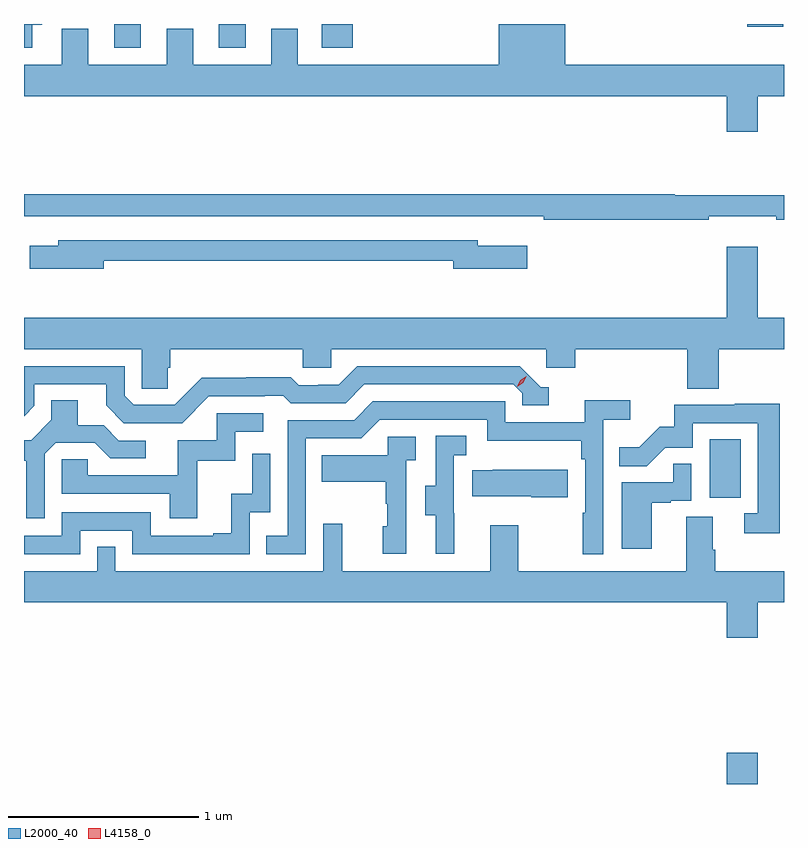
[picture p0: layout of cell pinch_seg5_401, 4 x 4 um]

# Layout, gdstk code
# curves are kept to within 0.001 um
import gdstk
lib = gdstk.Library(unit=1e-6, precision=1e-09)
def R(c, l, rs):  # rectangles x0, y0, x1, y1
    for r in rs: c.add(gdstk.rectangle(r[:2], r[2:], *l))
def P(c, l, *ps):  # polygons
    for p in ps: c.add(gdstk.Polygon(p, *l))
L2000_40 = (2000, 40)
L4158_0 = (4158, 0)

pinch_seg5_401 = lib.new_cell('pinch_seg5_401')
R(pinch_seg5_401, L2000_40, [(956.216,863.795,956.38,863.959), (956.126,865.302,956.29,865.609), (952.991,867.669,953.131,867.795), (953.543,867.669,953.683,867.795), (954.083,867.669,954.248,867.795), (956.323,867.78,956.512,867.795)])
P(pinch_seg5_401, L2000_40, [(956.38,867.416),(956.517,867.416),(956.517,867.58),(955.366,867.58),(955.366,867.795),(955.016,867.795),(955.016,867.58),(953.959,867.58),(953.959,867.77),(953.819,867.77),(953.819,867.58),(953.407,867.58),(953.407,867.77),(953.267,867.77),(953.267,867.58),(952.855,867.58),(952.855,867.77),(952.716,867.77),(952.716,867.58),(952.517,867.58),(952.517,867.416),(956.216,867.416),(956.216,867.228),(956.38,867.228)],
  [(952.561,867.791),(952.61,867.791),(952.614,867.795),(952.517,867.795),(952.517,867.669),(952.561,867.669)],
  [(956.12,866.783),(956.476,866.783),(956.476,866.764),(956.517,866.764),(956.517,866.893),(955.942,866.893),(955.942,866.9),(952.517,866.9),(952.517,866.784),(955,866.784),(955,866.783),(955.252,866.783),(955.252,866.764),(956.12,866.764)],
  [(952.936,866.55),(954.776,866.55),(954.776,866.507),(955.165,866.507),(955.165,866.629),(954.904,866.629),(954.904,866.658),(952.697,866.658),(952.697,866.629),(952.548,866.629),(952.548,866.507),(952.936,866.507)],
  [(953.273,865.986),(953.288,865.986),(953.288,866.084),(953.985,866.084),(953.985,865.986),(954.135,865.986),(954.135,866.084),(955.266,866.084),(955.266,865.986),(955.418,865.986),(955.418,866.084),(956.009,866.084),(956.009,865.876),(956.174,865.876),(956.174,866.084),(956.517,866.084),(956.517,866.248),(956.38,866.248),(956.38,866.623),(956.216,866.623),(956.216,866.248),(952.517,866.248),(952.517,866.084),(953.136,866.084),(953.136,865.876),(953.273,865.876)],
  [(953.49,865.836),(953.783,865.836),(953.783,865.839),(953.882,865.839),(953.921,865.8),(954.21,865.8),(954.309,865.899),(955.092,865.899),(955.14,865.851),(955.14,865.788),(955.279,865.788),(955.279,865.884),(955.236,865.884),(955.125,865.995),(954.272,865.995),(954.173,865.896),(954.066,865.896),(954.066,865.893),(953.963,865.893),(953.921,865.936),(953.688,865.936),(953.688,865.933),(953.452,865.933),(953.31,865.791),(953.094,865.791),(953.046,865.839),(953.046,865.995),(952.517,865.995),(952.517,865.73),(952.572,865.785),(952.572,865.899),(952.949,865.899),(952.949,865.789),(953.043,865.695),(953.349,865.695)],
  [(952.626,865.533),(952.683,865.59),(952.889,865.59),(952.97,865.509),(953.158,865.509),(953.158,865.602),(953.016,865.602),(952.936,865.682),(952.801,865.682),(952.801,865.814),(952.661,865.814),(952.661,865.712),(952.554,865.605),(952.517,865.605),(952.518,865.497),(952.529,865.497),(952.529,865.194),(952.626,865.194)],
  [(954,865.614),(954.291,865.614),(954.39,865.713),(954.954,865.713),(954.954,865.601),(955.45,865.601),(955.45,865.505),(955.47,865.505),(955.47,865.223),(955.458,865.223),(955.458,865.005),(955.566,865.005),(955.566,865.712),(955.708,865.712),(955.708,865.814),(955.469,865.814),(955.469,865.698),(955.05,865.698),(955.05,865.809),(954.353,865.809),(954.254,865.71),(953.904,865.71),(953.904,865.101),(953.791,865.101),(953.791,865.005),(954,865.005)],
  [(956.495,865.796),(956.257,865.796),(956.257,865.791),(955.939,865.791),(955.939,865.674),(955.862,865.674),(955.755,865.567),(955.651,865.567),(955.651,865.468),(955.795,865.468),(955.893,865.566),(956.037,865.566),(956.037,865.695),(956.379,865.695),(956.379,865.221),(956.307,865.221),(956.307,865.116),(956.495,865.116)],
  [(953.429,865.497),(953.628,865.497),(953.628,865.65),(953.776,865.65),(953.776,865.746),(953.532,865.746),(953.532,865.605),(953.327,865.605),(953.327,865.419),(952.853,865.419),(952.853,865.503),(952.716,865.503),(952.716,865.323),(953.285,865.323),(953.285,865.194),(953.429,865.194)],
  [(954.782,865.221),(954.78,865.221),(954.78,865.525),(954.844,865.525),(954.844,865.628),(954.684,865.628),(954.684,865.365),(954.629,865.365),(954.629,865.21),(954.683,865.21),(954.683,865.008),(954.782,865.008)],
  [(954.528,865.499),(954.58,865.499),(954.58,865.623),(954.432,865.623),(954.432,865.525),(954.085,865.525),(954.085,865.385),(954.42,865.385),(954.42,865.271),(954.43,865.271),(954.43,865.152),(954.404,865.152),(954.404,865.008),(954.528,865.008)],
  [(952.812,865.128),(953.088,865.128),(953.088,865.005),(953.706,865.005),(953.706,865.224),(953.814,865.224),(953.814,865.534),(953.718,865.534),(953.718,865.322),(953.609,865.322),(953.609,865.114),(953.513,865.114),(953.513,865.101),(953.184,865.101),(953.184,865.224),(952.716,865.224),(952.716,865.101),(952.517,865.101),(952.517,865.005),(952.812,865.005)],
  [(955.822,865.275),(955.922,865.275),(955.922,865.287),(956.028,865.287),(956.028,865.481),(955.933,865.481),(955.933,865.383),(955.664,865.383),(955.664,865.032),(955.822,865.032)],
  [(955.378,865.45),(954.985,865.45),(954.985,865.447),(954.877,865.447),(954.877,865.31),(955.187,865.31),(955.187,865.303),(955.378,865.303)],
  [(956.38,864.752),(956.517,864.752),(956.517,864.916),(956.156,864.916),(956.156,865.028),(956.143,865.028),(956.143,865.202),(956.003,865.202),(956.003,864.916),(955.119,864.916),(955.119,865.156),(954.971,865.156),(954.971,864.916),(954.191,864.916),(954.191,865.165),(954.093,865.165),(954.093,864.916),(952.998,864.916),(952.998,865.043),(952.902,865.043),(952.902,864.916),(952.517,864.916),(952.517,864.752),(956.216,864.752),(956.216,864.564),(956.38,864.564)])
P(pinch_seg5_401, L4158_0, [(955.113,865.887),(955.113,865.887),(955.129,865.92),(955.16,865.94),(955.16,865.94),(955.16,865.94),(955.144,865.907),(955.114,865.887)])

lib.write_gds('pinch_seg5_401.gds')
